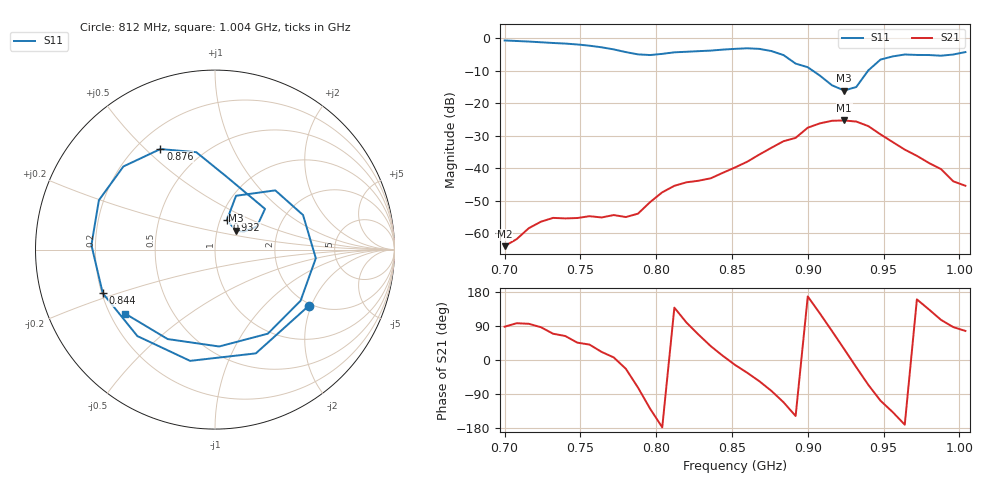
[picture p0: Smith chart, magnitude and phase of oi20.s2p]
# Hz S RI R 50
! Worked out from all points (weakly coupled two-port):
!   39 points, 700 MHz to 1.004 GHz, reference 50 ohm
!   highest |S21| = -25.29 dB at 924 MHz (marker M1); lowest = -64.0 dB at 700 MHz (marker M2)
!   lowest |S11| = -16.1 dB at 924 MHz (marker M3), VSWR 1.37, Z = 61.7 + j13.3 ohm
!   |S11| at or under -10 dB: 903.4 MHz to 939.8 MHz (36.32 MHz wide, 3.94 % of centre)
!   S12 and S22 are empty: the file has one direction only
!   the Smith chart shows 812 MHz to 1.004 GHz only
!   S11 on the Smith chart (normalised r, x): 812 MHz: 1.94, -1.92; 844 MHz: 0.20, -0.18; 876 MHz: 0.29, +0.56; 932 MHz: 1.08, +0.37; 1.004 GHz: 0.26, -0.30
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7e8  0.763 0.5281  2.32e-05 0.00063  0 0  0 0
7.24e8  0.8293 -0.2634  9.32e-05 0.0015  0 0  0 0
7.4e8  0.4456 -0.7013  0.000758 0.00151  0 0  0 0
7.56e8  -0.1962 -0.7451  0.00139 0.00119  0 0  0 0
7.72e8  -0.6499 -0.1853  0.00189 0.000223  0 0  0 0
7.8e8  -0.5691 0.2306  0.00163 -0.0007  0 0  0 0
7.88e8  -0.2136 0.5245  0.000591 -0.00191  0 0  0 0
7.96e8  0.2638 0.4864  -0.00188 -0.00235  0 0  0 0
8.04e8  0.5626 0.1275  -0.00426 -0.000165  0 0  0 0
8.12e8  0.5234 -0.3122  -0.00399 0.00358  0 0  0 0
8.28e8  -0.1387 -0.6198  0.00253 0.0059  0 0  0 0
8.44e8  -0.6254 -0.2428  0.00835 0.00161  0 0  0 0
8.52e8  -0.6886 0.0255  0.01 -0.0023  0 0  0 0
8.76e8  -0.3044 0.5602  0.00307 -0.0204  0 0  0 0
9e8  0.2787 0.2269  -0.0412 0.00894  0 0  0 0
9.08e8  0.2337 0.1289  -0.0267 0.0412  0 0  0 0
9.24e8  0.1175 0.1047  0.0476 0.0264  0 0  0 0
9.32e8  0.0665 0.1652  0.0495 -0.017  0 0  0 0
9.48e8  0.336 0.33  -0.00994 -0.0317  0 0  0 0
9.56e8  0.4906 0.1924  -0.0186 -0.0172  0 0  0 0
9.8e8  0.2944 -0.4684  -0.00824 0.00876  0 0  0 0
1.004e9  -0.4997 -0.3573  0.00124 0.00523  0 0  0 0
